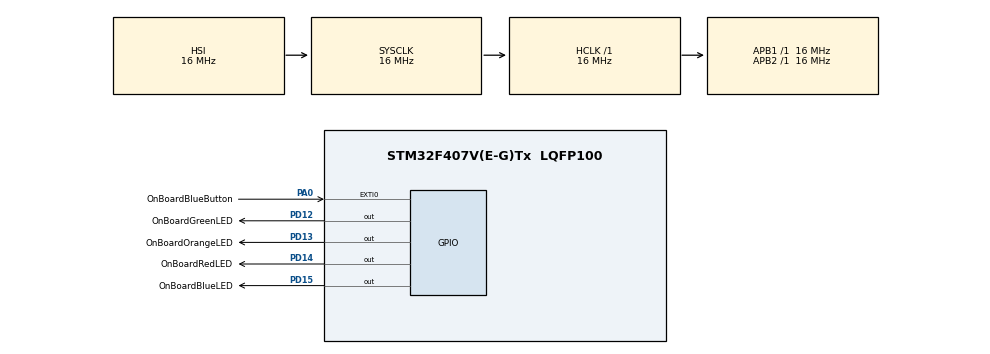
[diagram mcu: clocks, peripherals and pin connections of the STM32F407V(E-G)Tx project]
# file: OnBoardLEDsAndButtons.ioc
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Mcu.Family=STM32F4
Mcu.Name=STM32F407V(E-G)Tx
Mcu.Package=LQFP100
NVIC.EXTI0_IRQn=true\:0\:0\:false\:false\:true\:true\:true
NVIC.PriorityGroup=NVIC_PRIORITYGROUP_4
PA0-WKUP.GPIO_Label=OnBoardBlueButton
PA0-WKUP.GPIO_ModeDefaultEXTI=GPIO_MODE_IT_RISING_FALLING
PA0-WKUP.GPIO_PuPd=GPIO_PULLDOWN
PA0-WKUP.Signal=GPXTI0
PD12.GPIO_Label=OnBoardGreenLED
PD12.Signal=GPIO_Output
PD13.GPIO_Label=OnBoardOrangeLED
PD13.Signal=GPIO_Output
PD14.GPIO_Label=OnBoardRedLED
PD14.Signal=GPIO_Output
PD15.GPIO_Label=OnBoardBlueLED
PD15.Signal=GPIO_Output
ProjectManager.HeapSize=0x200
ProjectManager.StackSize=0x400
ProjectManager.TargetToolchain=STM32CubeIDE
RCC.AHBFreq_Value=16000000
RCC.APB1Freq_Value=16000000
RCC.APB2Freq_Value=16000000
RCC.CortexFreq_Value=16000000
RCC.HSE_VALUE=25000000
RCC.HSI_VALUE=16000000
RCC.LSE_VALUE=32768
RCC.SYSCLKFreq_VALUE=16000000
RCC.VCOOutputFreq_Value=192000000
board=custom

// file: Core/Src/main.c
/* USER CODE BEGIN Header */
/**
  ******************************************************************************
  * @file           : main.c
  * @brief          : Main program body
  ******************************************************************************
  * @attention
  *
  * <h2><center>&copy; Copyright (c) 2020 STMicroelectronics.
  * All rights reserved.</center></h2>
  *
  * This software component is licensed by ST under BSD 3-Clause license,
  * the "License"; You may not use this file except in compliance with the
  * License. You may obtain a copy of the License at:
  *                        opensource.org/licenses/BSD-3-Clause
  *
  ******************************************************************************
  */
/* USER CODE END Header */

#include "main.h"

/* USER CODE BEGIN PV */
/*Declare main.h, define here*/ volatile uint8_t leds_status;
static uint16_t on_board_leds[] = { OnBoardOrangeLED_Pin, OnBoardRedLED_Pin, OnBoardBlueLED_Pin, OnBoardGreenLED_Pin };
/* USER CODE END PV */

void SystemClock_Config(void);
static void MX_GPIO_Init(void);
/* USER CODE BEGIN PFP */
void toggle_pins(void);
static void set_on_board_leds(uint8_t);
/* USER CODE END PFP */

int main(void)
{

  /* MCU Configuration--------------------------------------------------------*/

  /* Reset of all peripherals, Initializes the Flash interface and the Systick. */
  HAL_Init();

  /* Configure the system clock */
  SystemClock_Config();

  /* Initialize all configured peripherals */
  MX_GPIO_Init();

  /* Infinite loop */
  /* USER CODE BEGIN WHILE */
  while (1)
  {
	  toggle_pins();
    /* USER CODE END WHILE */

  }
}

void SystemClock_Config(void)
{
  RCC_OscInitTypeDef RCC_OscInitStruct = {0};
  RCC_ClkInitTypeDef RCC_ClkInitStruct = {0};

  /** Configure the main internal regulator output voltage
  */
  __HAL_RCC_PWR_CLK_ENABLE();
  __HAL_PWR_VOLTAGESCALING_CONFIG(PWR_REGULATOR_VOLTAGE_SCALE1);
  /** Initializes the CPU, AHB and APB busses clocks
  */
  RCC_OscInitStruct.OscillatorType = RCC_OSCILLATORTYPE_HSI;
  RCC_OscInitStruct.HSIState = RCC_HSI_ON;
  RCC_OscInitStruct.HSICalibrationValue = RCC_HSICALIBRATION_DEFAULT;
  RCC_OscInitStruct.PLL.PLLState = RCC_PLL_NONE;
  if (HAL_RCC_OscConfig(&RCC_OscInitStruct) != HAL_OK)
  {
    Error_Handler();
  }
  /** Initializes the CPU, AHB and APB busses clocks
  */
  RCC_ClkInitStruct.ClockType = RCC_CLOCKTYPE_HCLK|RCC_CLOCKTYPE_SYSCLK
                              |RCC_CLOCKTYPE_PCLK1|RCC_CLOCKTYPE_PCLK2;
  RCC_ClkInitStruct.SYSCLKSource = RCC_SYSCLKSOURCE_HSI;
  RCC_ClkInitStruct.AHBCLKDivider = RCC_SYSCLK_DIV1;
  RCC_ClkInitStruct.APB1CLKDivider = RCC_HCLK_DIV1;
  RCC_ClkInitStruct.APB2CLKDivider = RCC_HCLK_DIV1;

  if (HAL_RCC_ClockConfig(&RCC_ClkInitStruct, FLASH_LATENCY_0) != HAL_OK)
  {
    Error_Handler();
  }
}

static void MX_GPIO_Init(void)
{
  GPIO_InitTypeDef GPIO_InitStruct = {0};

  /* GPIO Ports Clock Enable */
  __HAL_RCC_GPIOA_CLK_ENABLE();
  __HAL_RCC_GPIOD_CLK_ENABLE();

  /*Configure GPIO pin Output Level */
  HAL_GPIO_WritePin(GPIOD, OnBoardGreenLED_Pin|OnBoardOrangeLED_Pin|OnBoardRedLED_Pin|OnBoardBlueLED_Pin, GPIO_PIN_RESET);

  /*Configure GPIO pin : OnBoardBlueButton_Pin */
  GPIO_InitStruct.Pin = OnBoardBlueButton_Pin;
  GPIO_InitStruct.Mode = GPIO_MODE_IT_RISING_FALLING;
  GPIO_InitStruct.Pull = GPIO_PULLDOWN;
  HAL_GPIO_Init(OnBoardBlueButton_GPIO_Port, &GPIO_InitStruct);

  /*Configure GPIO pins : OnBoardGreenLED_Pin OnBoardOrangeLED_Pin OnBoardRedLED_Pin OnBoardBlueLED_Pin */
  GPIO_InitStruct.Pin = OnBoardGreenLED_Pin|OnBoardOrangeLED_Pin|OnBoardRedLED_Pin|OnBoardBlueLED_Pin;
  GPIO_InitStruct.Mode = GPIO_MODE_OUTPUT_PP;
  GPIO_InitStruct.Pull = GPIO_NOPULL;
  GPIO_InitStruct.Speed = GPIO_SPEED_FREQ_LOW;
  HAL_GPIO_Init(GPIOD, &GPIO_InitStruct);

  /* EXTI interrupt init*/
  HAL_NVIC_SetPriority(EXTI0_IRQn, 0, 0);
  HAL_NVIC_EnableIRQ(EXTI0_IRQn);

}

/* USER CODE BEGIN 4 */

void toggle_pins() {

	HAL_NVIC_DisableIRQ(EXTI0_IRQn);

	if (leds_status == 0) {
		for(int i = 0; i < 4; i++) {
			HAL_GPIO_WritePin(OnBoardLED_GPIO_Port, on_board_leds[i], GPIO_PIN_RESET);
		}
	}
	else if(leds_status == 1) {
		for(uint8_t i = 0; i < 4; i++) {
			set_on_board_leds(i);
			HAL_Delay(100);
		}
	}
	else if (leds_status == 2) {
		for(int8_t i = 3; i > -1 ; i--) { // needs signed integer here
			set_on_board_leds(i);
			HAL_Delay(100);
		}
	}
	else if (leds_status == 3) {
		for(int i = 0; i < 4; i++) {
			HAL_GPIO_WritePin(OnBoardLED_GPIO_Port, on_board_leds[i], GPIO_PIN_SET);
		}
	}
	else {
		// TODO show a debug message, just in case
	}

	HAL_NVIC_EnableIRQ(EXTI0_IRQn);
}

// renamed as suggested here: https://stackoverflow.com/questions/25090635/use-and-in-c-programs
static void set_on_board_leds(uint8_t active_led) {
	for(int i = 0; i < 4; i++) {
		HAL_GPIO_WritePin(OnBoardLED_GPIO_Port, on_board_leds[i], GPIO_PIN_RESET);
	}
	HAL_GPIO_WritePin(OnBoardLED_GPIO_Port, on_board_leds[active_led], GPIO_PIN_SET);

}
/* USER CODE END 4 */

void Error_Handler(void)
{
}

/************************ (C) COPYRIGHT STMicroelectronics *****END OF FILE****/
